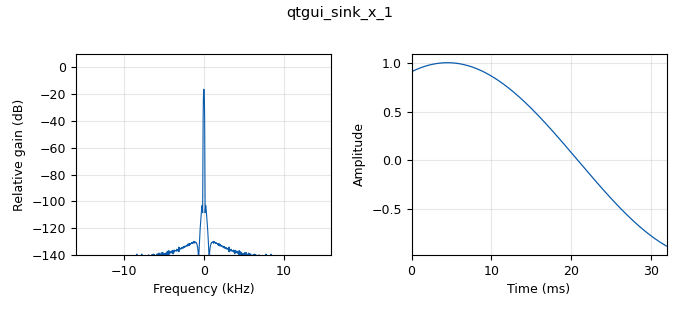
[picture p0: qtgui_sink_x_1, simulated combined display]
options:
  parameters:
    author: popikeyshen
    generate_options: qt_gui
    id: fmcw_prototype
    output_language: python
    title: Not titled yet
  states: {}

blocks:
- name: delay
  id: variable_qtgui_range
  parameters:
    label: delay
    orient: Qt.Horizontal
    start: '0'
    step: '1'
    stop: '100'
    value: '50'
  states: {}
- name: samp_rate
  id: variable
  parameters:
    value: '32000'
  states: {}
- name: sample_rate
  id: variable
  parameters:
    value: int(10000000)
  states: {}
- name: analog_sig_source_x_0
  id: analog_sig_source_x
  parameters:
    amp: '1'
    freq: 1e3
    offset: '-0.2'
    phase: '0'
    samp_rate: sample_rate
    type: float
    waveform: analog.GR_SAW_WAVE
  states: {}
- name: blocks_complex_to_real_0
  id: blocks_complex_to_real
  parameters: {}
  states: {}
- name: blocks_delay_0
  id: blocks_delay
  parameters:
    delay: delay
    type: complex
  states: {}
- name: blocks_multiply_conjugate_cc_0
  id: blocks_multiply_conjugate_cc
  parameters: {}
  states: {}
- name: blocks_stream_to_vector_0
  id: blocks_stream_to_vector
  parameters:
    num_items: '100'
    type: complex
  states: {state: disabled}
- name: blocks_vco_c_0
  id: blocks_vco_c
  parameters:
    amplitude: '1'
    samp_rate: 10e6
    sensitivity: 6e6
  states: {}
- name: blocks_vco_f_0
  id: blocks_vco_f
  parameters:
    amplitude: '1'
    samp_rate: sample_rate
    sensitivity: 1e6
  states: {state: disabled}
- name: hilbert_fc_0
  id: hilbert_fc
  parameters:
    num_taps: '2'
    win: firdes.WIN_HAMMING
  states: {state: disabled}
- name: qtgui_sink_x_0
  id: qtgui_sink_x
  parameters:
    bw: 10e6
    fc: '0'
    fftsize: '1024'
    type: complex
    wintype: firdes.WIN_BLACKMAN_hARRIS
  states: {state: disabled}
- name: qtgui_sink_x_0_0
  id: qtgui_sink_x
  parameters:
    bw: 10e6
    fc: '0'
    fftsize: '1024'
    type: complex
    wintype: firdes.WIN_BLACKMAN_hARRIS
  states: {state: disabled}
- name: qtgui_sink_x_1
  id: qtgui_sink_x
  parameters:
    bw: samp_rate
    fc: '0'
    fftsize: '1024'
    type: float
    wintype: firdes.WIN_BLACKMAN_hARRIS
  states: {}

connections:
- [analog_sig_source_x_0, '0', blocks_vco_c_0, '0']
- [analog_sig_source_x_0, '0', blocks_vco_f_0, '0']
- [blocks_complex_to_real_0, '0', qtgui_sink_x_1, '0']
- [blocks_delay_0, '0', blocks_multiply_conjugate_cc_0, '1']
- [blocks_delay_0, '0', qtgui_sink_x_0_0, '0']
- [blocks_multiply_conjugate_cc_0, '0', blocks_complex_to_real_0, '0']
- [blocks_multiply_conjugate_cc_0, '0', qtgui_sink_x_0, '0']
- [blocks_vco_c_0, '0', blocks_delay_0, '0']
- [blocks_vco_c_0, '0', blocks_multiply_conjugate_cc_0, '0']
- [blocks_vco_f_0, '0', hilbert_fc_0, '0']
- [hilbert_fc_0, '0', blocks_delay_0, '0']
- [hilbert_fc_0, '0', blocks_multiply_conjugate_cc_0, '0']

metadata:
  file_format: 1
